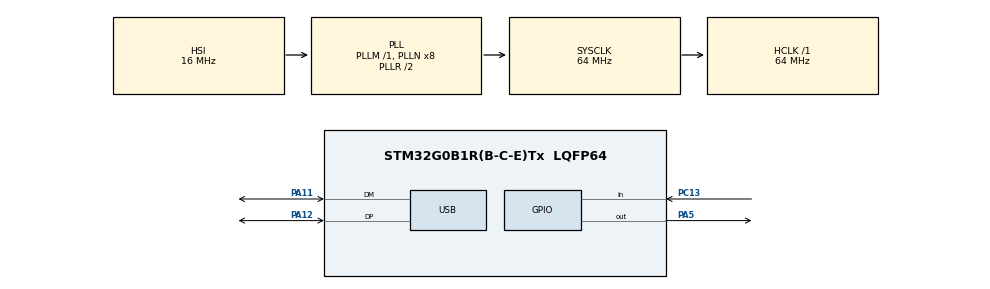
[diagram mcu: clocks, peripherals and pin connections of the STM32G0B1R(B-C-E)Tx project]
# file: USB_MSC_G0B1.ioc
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Mcu.Family=STM32G0
Mcu.Name=STM32G0B1R(B-C-E)Tx
Mcu.Package=LQFP64
NVIC.USB_UCPD1_2_IRQn=true\:0\:0\:false\:false\:true\:true\:true\:true
PA11\ [PA9].Mode=Device
PA11\ [PA9].Signal=USB_DM
PA12\ [PA10].Mode=Device
PA12\ [PA10].Signal=USB_DP
PA13.Mode=Serial_Wire
PA13.Signal=SYS_SWDIO
PA14-BOOT0.Mode=Serial_Wire
PA14-BOOT0.Signal=SYS_SWCLK
PA5.Signal=GPIO_Output
PC13.Signal=GPIO_Input
ProjectManager.HeapSize=0x2000
ProjectManager.StackSize=0x400
ProjectManager.TargetToolchain=STM32CubeIDE
RCC.ADCFreq_Value=64000000
RCC.AHBFreq_Value=64000000
RCC.CortexFreq_Value=64000000
RCC.EXTERNAL_CLOCK_VALUE=48000
RCC.HCLKFreq_Value=64000000
RCC.HSE_VALUE=8000000
RCC.HSI48_VALUE=48000000
RCC.HSI_VALUE=16000000
RCC.LSE_VALUE=32768
RCC.SYSCLKFreq_VALUE=64000000
RCC.SYSCLKSource=RCC_SYSCLKSOURCE_PLLCLK
RCC.USBFreq_Value=48000000
RCC.VCOOutputFreq_Value=128000000
USB_DEVICE.CLASS_NAME_FS=MSC
USB_DEVICE.MSC_MEDIA_PACKET=2048
USB_DEVICE.VirtualMode=Msc
USB_DEVICE.VirtualModeFS=Msc_FS
VP_USB_DEVICE_VS_USB_DEVICE_MSC_FS.Mode=MSC_FS
board=custom

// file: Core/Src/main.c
/* USER CODE BEGIN Header */
/**
 ******************************************************************************
 * @file           : main.c
 * @brief          : Main program body
 ******************************************************************************
 * @attention
 *
 * Copyright (c) 2022 STMicroelectronics.
 * All rights reserved.
 *
 * This software is licensed under terms that can be found in the LICENSE file
 * in the root directory of this software component.
 * If no LICENSE file comes with this software, it is provided AS-IS.
 *
 ******************************************************************************
 */
/* USER CODE END Header */
#include "fat_app.h"
#include "main.h"
#include "usb_device.h"

/* USER CODE BEGIN Includes */
#include "usbd_storage_if.h"
/* USER CODE END Includes */

/* USER CODE BEGIN PTD */
typedef void (*pFunction)(void);
/* USER CODE END PTD */

/* USER CODE BEGIN PV */
extern USBD_HandleTypeDef hUsbDeviceFS;
/* USER CODE END PV */

void SystemClock_Config(void);
static void MX_GPIO_Init(void);
/* USER CODE BEGIN PFP */
void JumpToApp(void);
/* USER CODE END PFP */

int main(void)
{
	/* USER CODE BEGIN 1 */
	FLASH_EraseInitTypeDef flashErase;
	uint32_t ErrorFlash;
	/* USER CODE END 1 */

	/* MCU Configuration--------------------------------------------------------*/

	/* Reset of all peripherals, Initializes the Flash interface and the Systick. */
	HAL_Init();

	/* Configure the system clock */
	SystemClock_Config();

	/* Initialize all configured peripherals */
	MX_GPIO_Init();
	/* USER CODE BEGIN 2 */

	/* Check whether the PC13 Button is released */
	if(HAL_GPIO_ReadPin(GPIOC, GPIO_PIN_13) == GPIO_PIN_SET)
	{
		/* ---------- Enter in Application ---------- */
		/* Jump to application */
		JumpToApp();
	}

	/* ---------- Enter in Bootloader mode ---------- */
	/* Fill the empty sector with 0s  */
	for(int i = 0; i < FAT_BLOCK_SIZE; i++)
	{
		blkSector[i] = 0;
	}

	/* Initialize the FAT File System */
	FAT_Init();

	/* Initialize the USB Device MSC */
	MX_USB_Device_Init();

	/* Turn the User LED ON to indicate that application entered in Bootloader */
	HAL_GPIO_WritePin(GPIOA, GPIO_PIN_5, GPIO_PIN_SET);
	/* USER CODE END 2 */

	/* Infinite loop */
	/* USER CODE BEGIN WHILE */
	while (1)
	{
		if(fatINFO.FileTransferCpt == SET)
		{
			/* Wait for the end of transmission */
			HAL_Delay(250);

			/* De-Initialize the USB Device */
			USBD_DeInit(&hUsbDeviceFS);

			/* Erase the Remaining Flash Memory */
			/* Initialize the Erase TypeDef */
			flashErase.Banks = FLASH_BANK_1;
			flashErase.TypeErase = FLASH_TYPEERASE_PAGES;

			/* Calculate the last Memory Position */
			flashErase.Page = (fatINFO.FileSize/FLASH_PAGE_SIZE) + 26;

			/* Unlock the Flash Memory */
			HAL_FLASH_Unlock();

			/* Check which bank corresponds to the calculated page */
			if(flashErase.Page < 127)
			{
				/* Compute the Number of pages */
				flashErase.NbPages = flashErase.Page - 24;

				if(HAL_FLASHEx_Erase(&flashErase, &ErrorFlash) != HAL_OK)
				{
					/* Lock the Flash Memory */
					HAL_FLASH_Lock();

					/* Call the Error Handler */
					Error_Handler();
				}

				/* Update the Erase settings */
				flashErase.Banks = FLASH_BANK_2;
				flashErase.Page = 256;
				flashErase.NbPages = 128;

				if(HAL_FLASHEx_Erase(&flashErase, &ErrorFlash) != HAL_OK)
				{
					/* Lock the Flash Memory */
					HAL_FLASH_Lock();

					/* Call the Error Handler */
					Error_Handler();
				}
			}
			else
			{
				/* Update the Erase settings */
				flashErase.Banks = FLASH_BANK_2;
				flashErase.Page += 129;
				flashErase.NbPages = 383 - flashErase.Page;

				if(HAL_FLASHEx_Erase(&flashErase, &ErrorFlash) != HAL_OK)
				{
					/* Lock the Flash Memory */
					HAL_FLASH_Lock();

					/* Call the Error Handler */
					Error_Handler();
				}
			}

			/* Lock the Flash Memory */
			HAL_FLASH_Lock();

			/* Jump To Application */
			JumpToApp();
		}
		/* USER CODE END WHILE */

	}
}

void SystemClock_Config(void)
{
	RCC_OscInitTypeDef RCC_OscInitStruct = {0};
	RCC_ClkInitTypeDef RCC_ClkInitStruct = {0};

	/** Configure the main internal regulator output voltage
	 */
	HAL_PWREx_ControlVoltageScaling(PWR_REGULATOR_VOLTAGE_SCALE1);

	/** Initializes the RCC Oscillators according to the specified parameters
	 * in the RCC_OscInitTypeDef structure.
	 */
	RCC_OscInitStruct.OscillatorType = RCC_OSCILLATORTYPE_HSI|RCC_OSCILLATORTYPE_HSI48;
	RCC_OscInitStruct.HSIState = RCC_HSI_ON;
	RCC_OscInitStruct.HSI48State = RCC_HSI48_ON;
	RCC_OscInitStruct.HSIDiv = RCC_HSI_DIV1;
	RCC_OscInitStruct.HSICalibrationValue = RCC_HSICALIBRATION_DEFAULT;
	RCC_OscInitStruct.PLL.PLLState = RCC_PLL_ON;
	RCC_OscInitStruct.PLL.PLLSource = RCC_PLLSOURCE_HSI;
	RCC_OscInitStruct.PLL.PLLM = RCC_PLLM_DIV1;
	RCC_OscInitStruct.PLL.PLLN = 8;
	RCC_OscInitStruct.PLL.PLLP = RCC_PLLP_DIV2;
	RCC_OscInitStruct.PLL.PLLQ = RCC_PLLQ_DIV2;
	RCC_OscInitStruct.PLL.PLLR = RCC_PLLR_DIV2;
	if (HAL_RCC_OscConfig(&RCC_OscInitStruct) != HAL_OK)
	{
		Error_Handler();
	}

	/** Initializes the CPU, AHB and APB buses clocks
	 */
	RCC_ClkInitStruct.ClockType = RCC_CLOCKTYPE_HCLK|RCC_CLOCKTYPE_SYSCLK
			|RCC_CLOCKTYPE_PCLK1;
	RCC_ClkInitStruct.SYSCLKSource = RCC_SYSCLKSOURCE_PLLCLK;
	RCC_ClkInitStruct.AHBCLKDivider = RCC_SYSCLK_DIV1;
	RCC_ClkInitStruct.APB1CLKDivider = RCC_HCLK_DIV1;

	if (HAL_RCC_ClockConfig(&RCC_ClkInitStruct, FLASH_LATENCY_2) != HAL_OK)
	{
		Error_Handler();
	}
}

static void MX_GPIO_Init(void)
{
	GPIO_InitTypeDef GPIO_InitStruct = {0};

	/* GPIO Ports Clock Enable */
	__HAL_RCC_GPIOC_CLK_ENABLE();
	__HAL_RCC_GPIOA_CLK_ENABLE();

	/*Configure GPIO pin Output Level */
	HAL_GPIO_WritePin(GPIOA, GPIO_PIN_5, GPIO_PIN_RESET);

	/*Configure GPIO pin : PC13 */
	GPIO_InitStruct.Pin = GPIO_PIN_13;
	GPIO_InitStruct.Mode = GPIO_MODE_INPUT;
	GPIO_InitStruct.Pull = GPIO_NOPULL;
	HAL_GPIO_Init(GPIOC, &GPIO_InitStruct);

	/*Configure GPIO pin : PA5 */
	GPIO_InitStruct.Pin = GPIO_PIN_5;
	GPIO_InitStruct.Mode = GPIO_MODE_OUTPUT_PP;
	GPIO_InitStruct.Pull = GPIO_NOPULL;
	GPIO_InitStruct.Speed = GPIO_SPEED_FREQ_LOW;
	HAL_GPIO_Init(GPIOA, &GPIO_InitStruct);

}

/* USER CODE BEGIN 4 */
/**
 * @brief Perform a jump to the application if it's available
 * @param None
 * @retval None
 */
void JumpToApp(void)
{
	/* Local variables */
	uint32_t JumpAddress;
	pFunction Jump_To_Application;

	/* Check whether App is available */
	if((*(uint32_t*) FLASH_APP_ADDR) != 0xFFFFFFFF)
	{
		/* De-init the GPIOS */
		HAL_GPIO_DeInit(GPIOC, GPIO_PIN_13);
		HAL_GPIO_DeInit(GPIOA, GPIO_PIN_5);

		/* Set the Clock to default state */
		HAL_RCC_DeInit();

		/* Jump to user application */
		JumpAddress = *(__IO uint32_t*) (FLASH_APP_ADDR + 4);
		Jump_To_Application = (pFunction)JumpAddress;

		/* Initialize use application's Stack Pointer */
		__set_MSP(*(__IO uint32_t*)FLASH_APP_ADDR);
		Jump_To_Application();
	}
	else
	{
		/* Blink the LED at 0.5Hz to indicate that there isn't an application into the memory */
		while(1)
		{
			HAL_GPIO_TogglePin(GPIOA, GPIO_PIN_5);
			HAL_Delay(1000);
		}
	}
}

/**
 * @brief Perform a Flash Page Erase
 * @param page: the page number to be erased
 * @retval status: HAL_StatusTypeDef with the operation result
 */
HAL_StatusTypeDef EraseFlashPage(uint16_t page)
{
	/* Local Variables */
	HAL_StatusTypeDef status;
	FLASH_EraseInitTypeDef flashErase_t;
	uint32_t EraseError;

	/* Erase TypeDef initialization */
	flashErase_t.Page = page;
	flashErase_t.NbPages = 1;
	flashErase_t.TypeErase = FLASH_TYPEERASE_PAGES;

	if(page <= 127)
	{
		flashErase_t.Banks = FLASH_BANK_1;
	}
	else
	{
		flashErase_t.Banks = FLASH_BANK_2;
	}

	/* Unlock the Flash Memory */
	HAL_FLASH_Unlock();

	/* Perform the Flash Erase Page */
	status = HAL_FLASHEx_Erase(&flashErase_t, &EraseError);

	/* Lock the Flash Memory */
	HAL_FLASH_Lock();

	/* Return the operation result */
	return status;
}
/* USER CODE END 4 */

void Error_Handler(void)
{
	/* USER CODE BEGIN Error_Handler_Debug */
	/* User can add his own implementation to report the HAL error return state */

	while (1)
	{
		/* Toggle the User LED status */
		HAL_GPIO_TogglePin(GPIOA, GPIO_PIN_5);

		/* Wait for 500ms */
		HAL_Delay(500);

	}
	/* USER CODE END Error_Handler_Debug */
}
